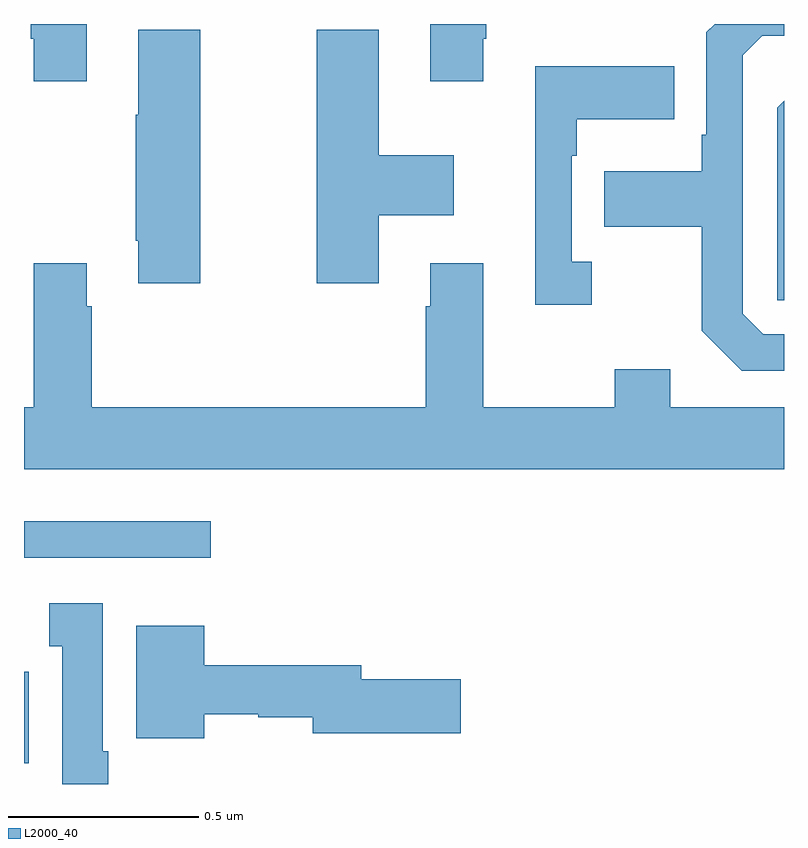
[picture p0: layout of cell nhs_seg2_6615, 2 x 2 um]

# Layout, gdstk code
import gdstk
lib = gdstk.Library(unit=1e-6, precision=1e-09)
def R(c, l, rs):  # rectangles x0, y0, x1, y1
    for r in rs: c.add(gdstk.rectangle(r[:2], r[2:], *l))
def P(c, l, *ps):  # polygons
    for p in ps: c.add(gdstk.Polygon(p, *l))
L2000_40 = (2000, 40)

nhs_seg2_6615 = lib.new_cell('nhs_seg2_6615')
R(nhs_seg2_6615, L2000_40, [(193,654.854,193.012,655.096), (193,655.395,193.492,655.492)])
P(nhs_seg2_6615, L2000_40, [(195,655.983),(194.946,655.983),(194.892,656.037),(194.892,656.718),(194.943,656.769),(195,656.769),(195,656.8),(194.818,656.8),(194.796,656.778),(194.796,656.509),(194.784,656.509),(194.784,656.413),(194.527,656.413),(194.527,656.266),(194.784,656.266),(194.784,655.993),(194.889,655.887),(195,655.887)],
  [(193.165,656.8),(193.018,656.8),(193.018,656.761),(193.025,656.761),(193.025,656.649),(193.165,656.649)],
  [(194.209,656.761),(194.217,656.761),(194.217,656.8),(194.069,656.8),(194.069,656.649),(194.209,656.649)],
  [(193.464,656.785),(193.301,656.785),(193.301,656.561),(193.294,656.561),(193.294,656.23),(193.301,656.23),(193.301,656.118),(193.464,656.118)],
  [(193.933,656.297),(194.131,656.297),(194.131,656.455),(193.933,656.455),(193.933,656.785),(193.771,656.785),(193.771,656.118),(193.933,656.118)],
  [(194.494,656.174),(194.442,656.174),(194.442,656.453),(194.455,656.453),(194.455,656.549),(194.711,656.549),(194.711,656.689),(194.345,656.689),(194.345,656.061),(194.494,656.061)],
  [(195,656.598),(194.982,656.58),(194.982,656.073),(195,656.073)],
  [(195,655.792),(194.701,655.792),(194.701,655.891),(194.554,655.891),(194.554,655.792),(194.209,655.792),(194.209,656.17),(194.069,656.17),(194.069,656.057),(194.057,656.057),(194.057,655.792),(193.178,655.792),(193.178,656.057),(193.165,656.057),(193.165,656.17),(193.025,656.17),(193.025,655.792),(193,655.792),(193,655.628),(195,655.628)],
  [(193.222,654.886),(193.207,654.886),(193.207,655.276),(193.067,655.276),(193.067,655.163),(193.1,655.163),(193.1,654.8),(193.222,654.8)],
  [(193.474,654.984),(193.617,654.984),(193.617,654.976),(193.76,654.976),(193.76,654.934),(194.149,654.934),(194.149,655.076),(193.888,655.076),(193.888,655.112),(193.474,655.112),(193.474,655.216),(193.295,655.216),(193.295,654.92),(193.474,654.92)])

lib.write_gds('nhs_seg2_6615.gds')
